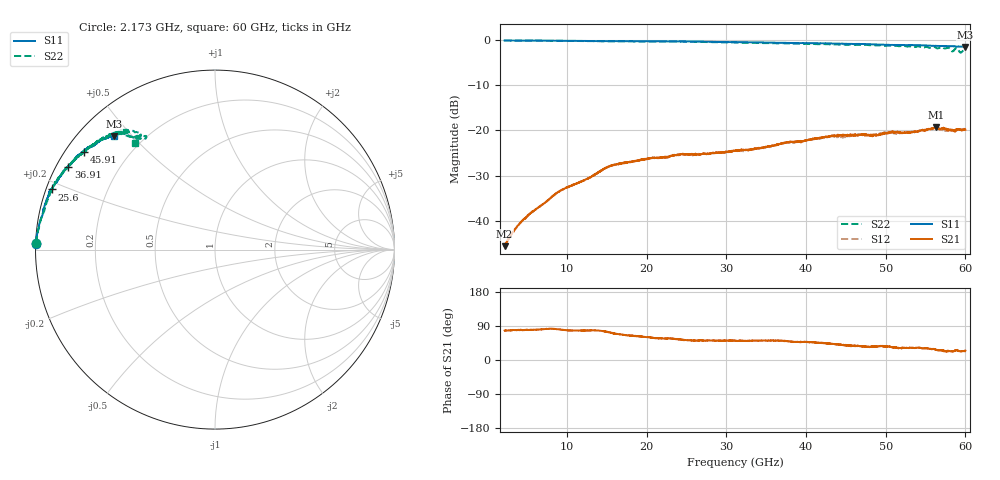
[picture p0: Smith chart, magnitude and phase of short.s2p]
!Correction: S11(Full 2 Port(1,2))
!S21(Full 2 Port(1,2))
!S12(Full 2 Port(1,2))
!S22(Full 2 Port(1,2))
!S2P File: Measurements: S11, S21, S12, S22:
# Hz S  RI  R 50
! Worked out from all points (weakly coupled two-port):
!   1556 points, 2.173 GHz to 60 GHz, reference 50 ohm
!   highest |S21| = -19.31 dB at 56.32 GHz (marker M1); lowest = -45.7 dB at 2.173 GHz (marker M2)
!   lowest |S11| = -1.4 dB at 60 GHz (marker M3), VSWR 12.07, Z = 4.97 + j22.2 ohm
!   |S11| at or under -10 dB: nowhere
!   |S22| runs from -2.7 to 0.0 dB; largest |S21 - S12| = 0.0076
!   S11 on the Smith chart (normalised r, x): 2.173 GHz: 0.00, +0.02; 25.6 GHz: 0.02, +0.18; 36.91 GHz: 0.03, +0.26; 45.91 GHz: 0.05, +0.33; 60 GHz: 0.10, +0.44
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2.173438e9  -0.997 0.0313  0.00108 0.00508  0.00122 0.00506  -0.9954 0.0348
3.660938e9  -0.9952 0.0515  0.0016 0.00822  0.00166 0.00813  -0.9929 0.0582
5.334375e9  -0.9923 0.0761  0.0022 0.0117  0.00219 0.0117  -0.9899 0.0845
8.97875e9  -0.9822 0.1243  0.00341 0.0206  0.00342 0.0208  -0.9775 0.1382
1.184219e10  -0.9731 0.1618  0.00559 0.0265  0.00551 0.0265  -0.9657 0.1804
1.563531e10  -0.9597 0.205  0.0133 0.0384  0.013 0.0388  -0.9479 0.2287
2.147375e10  -0.9358 0.2817  0.0265 0.0421  0.0269 0.0422  -0.9195 0.3102
2.560156e10  -0.9103 0.3353  0.0341 0.0425  0.0331 0.0424  -0.8917 0.3732
3.110531e10  -0.8694 0.3996  0.037 0.0468  0.0378 0.0467  -0.8363 0.4436
3.690656e10  -0.8177 0.4608  0.0452 0.0564  0.0452 0.0561  -0.7742 0.5082
4.073688e10  -0.785 0.498  0.0548 0.0584  0.0554 0.0582  -0.7327 0.545
4.590594e10  -0.7289 0.5461  0.0717 0.0541  0.0675 0.0573  -0.6739 0.5878
4.888094e10  -0.6936 0.5727  0.0716 0.0528  0.0721 0.0543  -0.6279 0.6181
5.036844e10  -0.677 0.579  0.0767 0.0554  0.0759 0.0545  -0.6127 0.6249
5.300875e10  -0.6524 0.6005  0.0796 0.0494  0.0801 0.0511  -0.5628 0.6481
5.631844e10  -0.6083 0.6235  0.0965 0.0491  0.0925 0.0509  -0.5159 0.646
5.661594e10  -0.6041 0.6246  0.0956 0.0457  0.0932 0.0447  -0.4787 0.661
5.79175e10  -0.5928 0.6252  0.0917 0.0399  0.0898 0.0431  -0.5043 0.6542
5.843812e10  -0.5845 0.6307  0.0913 0.0397  0.091 0.0413  -0.4154 0.6321
5.895875e10  -0.5782 0.6299  0.0916 0.0434  0.0897 0.0456  -0.5004 0.6476
5.947938e10  -0.5697 0.6331  0.0943 0.0387  0.0923 0.0413  -0.3812 0.6266
6e10  -0.5646 0.6313  0.0924 0.0426  0.0948 0.0438  -0.4444 0.5956
